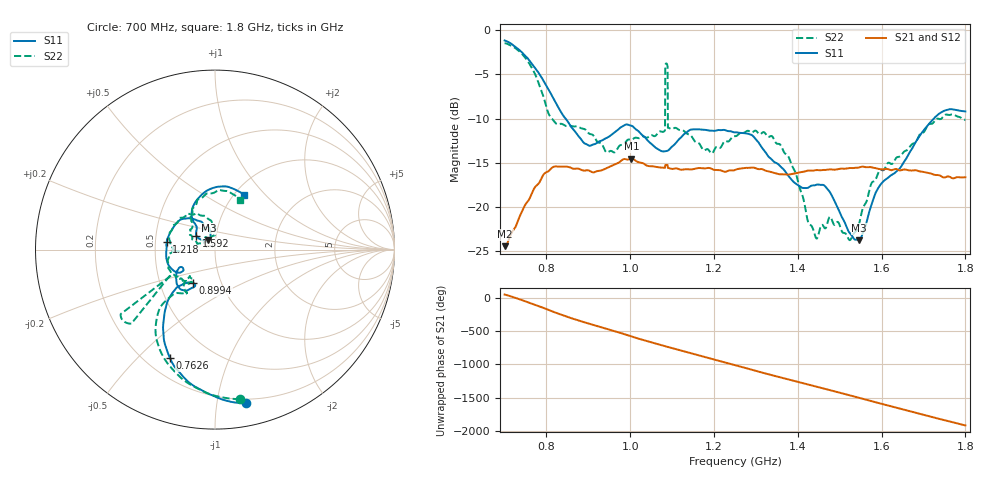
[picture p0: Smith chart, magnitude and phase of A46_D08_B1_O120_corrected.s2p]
! Created with skrf 1.9.0 (http://scikit-rf.org).
# Hz S RI R 50.0
!freq ReS11 ImS11 ReS21 ImS21 ReS12 ImS12 ReS22 ImS22
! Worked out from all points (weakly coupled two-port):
!   1601 points, 700 MHz to 1.8 GHz, reference 50 ohm
!   highest |S21| = -14.54 dB at 1.002 GHz (marker M1); lowest = -24.4 dB at 701.4 MHz (marker M2)
!   lowest |S11| = -23.8 dB at 1.546 GHz (marker M3), VSWR 1.14, Z = 46.2 + j4.95 ohm
!   |S11| at or under -10 dB: 845.3 MHz to 1.725 GHz (879.3 MHz wide, 68.4 % of centre)
!   |S22| runs from -23.7 to -1.5 dB; largest |S21 - S12| = 0.0036
!   S11 on the Smith chart (normalised r, x): 700 MHz: 0.17, -1.21; 762.6 MHz: 0.30, -0.63; 899.4 MHz: 0.73, -0.29; 1.218 GHz: 0.57, +0.05; 1.592 GHz: 0.80, +0.13; 1.8 GHz: 1.11, +0.77
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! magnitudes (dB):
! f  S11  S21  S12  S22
! 700 MHz  -1.2  -24.4  -24.2  -1.5
! 701.4 MHz  -1.2  -24.4  -24.0  -1.5
! 762.6 MHz  -3.7  -18.7  -18.7  -4.1
! 815.5 MHz  -7.6  -15.5  -15.6  -10.2
! 883.6 MHz  -12.4  -15.8  -15.7  -11.1
! 899.4 MHz  -13.0  -15.8  -15.9  -11.6
! 945.4 MHz  -12.2  -15.6  -15.6  -13.8
! 1.002 GHz  -10.8  -14.5  -14.6  -12.4
! 1.067 GHz  -13.5  -15.5  -15.5  -11.6
! 1.077 GHz  -13.7  -15.6  -15.6  -11.5
! 1.084 GHz  -13.7  -15.3  -15.3  -3.9
! 1.089 GHz  -13.6  -15.3  -15.3  -4.1
! 1.095 GHz  -13.4  -15.7  -15.7  -11.1
! 1.218 GHz  -11.3  -15.9  -15.9  -13.1
! 1.25 GHz  -11.6  -15.8  -15.7  -12.0
! 1.358 GHz  -15.4  -16.3  -16.3  -12.9
! 1.434 GHz  -17.6  -15.9  -15.9  -22.2
! 1.546 GHz  -23.8  -15.5  -15.5  -21.9
! 1.592 GHz  -17.8  -15.7  -15.7  -16.1
! 1.617 GHz  -16.6  -15.8  -15.7  -15.0
! 1.733 GHz  -9.6  -16.4  -16.4  -10.0
! 1.8 GHz  -9.2  -16.6  -16.6  -10.1
